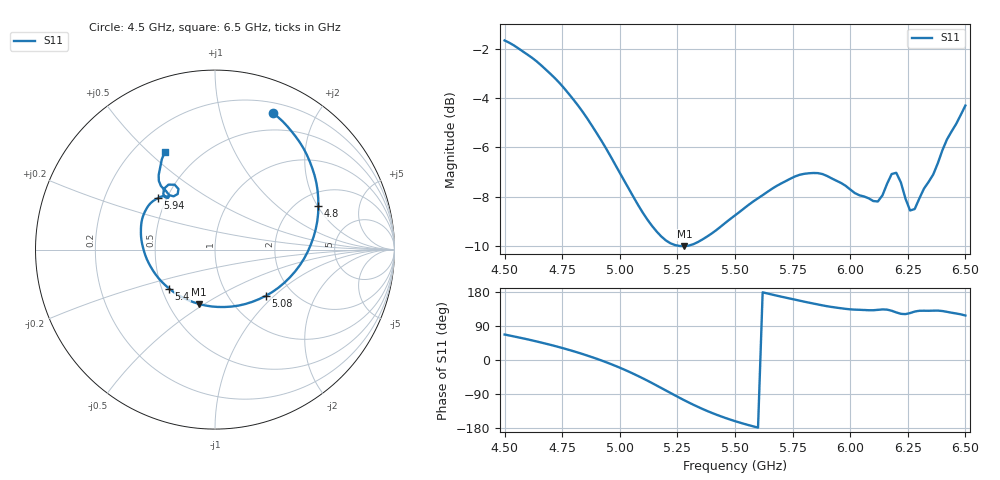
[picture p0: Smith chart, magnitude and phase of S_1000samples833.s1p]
! TOUCHSTONE file generated by CST MICROWAVE STUDIO
! Date and time: Sat Oct 29 13:21:01 2022
! Project name: L.cst
! Parameters = {Di=1.27; Epsilon_r=1.56; InnerDiameter=1.27; Length=2; Lf=10; Lg=60; OuterConductorThickness=0.2921; OuterDiameter=3.6; Wf=3; Wp=41.2; de=1.5; df=6.8; g=0.8; gx=3.54859; gy=1.79645; h=2.34; hf=1.524; px=14.1249; py=10.6464; w=9.7; wx=10.5763; wy=8.84998}
! Header version: 2018
! Port assignment regex: !\s*Touchstone port\s*([0-9]+)\s*=\s*(CST MWS port|CST DS port)\s*([0-9]+|Zmin|Zmax)\s*\(\"(.*)\"\)(\s*mode\s*([0-9]+))?.*
! Touchstone port assignment:
! Touchstone port 1 = CST MWS port 1 ("")
# GHz S DB R 50
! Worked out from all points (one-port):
!   101 points, 4.5 GHz to 6.5 GHz, reference 50 ohm
!   lowest |S11| = -10.0 dB at 5.28 GHz (marker M1), VSWR 1.92, Z = 35.3 - j23.7 ohm
!   |S11| at or under -10 dB: 5.257 GHz to 5.29 GHz (33.47 MHz wide, 0.635 % of centre)
!   S11 on the Smith chart (normalised r, x): 4.5 GHz: 0.30, +1.46; 4.8 GHz: 2.54, +2.04; 5.08 GHz: 1.47, -0.89; 5.4 GHz: 0.55, -0.27; 5.94 GHz: 0.45, +0.31; 6.5 GHz: 0.33, +0.56
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4.5  -1.65 67.2
4.64  -2.51 48.8
4.76  -3.61 30.0
4.8  -4.07 23.0
4.9  -5.42 3.2
5  -7.03 -20.3
5.08  -8.35 -42.4
5.16  -9.42 -67.3
5.26  -10.01 -99.9
5.28  -10.01 -106.3
5.4  -9.49 -139.7
5.5  -8.76 -161.3
5.64  -7.81 175.7
5.76  -7.18 159.3
5.86  -7.04 146.6
5.94  -7.35 138.2
6  -7.71 133.7
6.1  -8.18 131.3
6.14  -7.95 133.5
6.18  -7.08 130.0
6.2  -7.03 125.6
6.22  -7.42 121.9
6.24  -8.08 121.1
6.26  -8.56 123.9
6.3  -8.08 129.9
6.38  -6.65 130.4
6.42  -5.67 127.1
6.5  -4.30 117.4
